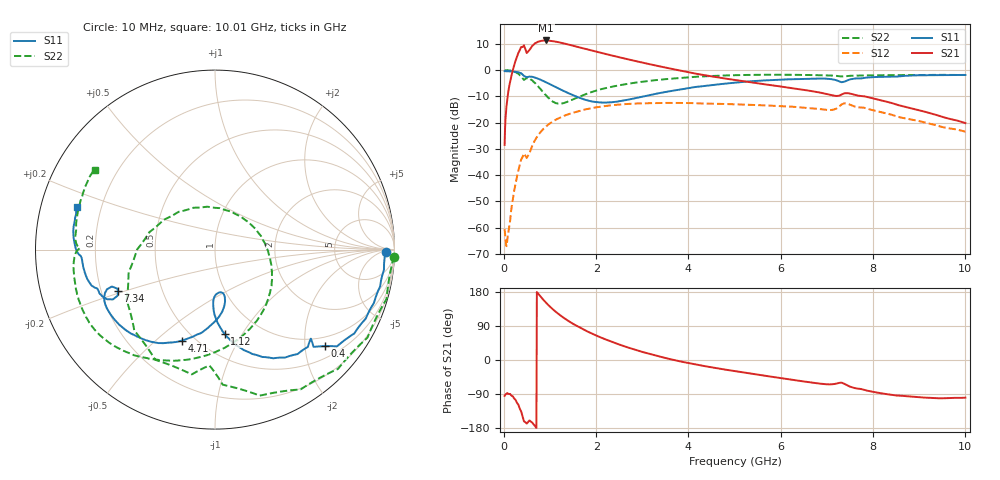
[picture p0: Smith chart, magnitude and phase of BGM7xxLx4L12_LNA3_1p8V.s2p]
! (c) 2014 Infineon Technologies AG
! BGM7xxLx4L12 - Silicon Germanium Quad-Band LTE LNA bank
! 20 May 2014
! Special Application Board
! C1 = L1 = 0 Ohm
! C2 = 100 nF
! Vcc = 1.8V
! RF input and output lines de-embedded
! Port 1 reference plane: LNA input AI (pin 1)
! Port 2 reference plane: LNA output AO (pin 4)
! Network Data:
! Measured BGM7xxLx4L12 device level s-parameters
# GHz S MA R 50
!Freq  MagS11  AngS11  MagS21  AngS21  MagS12  AngS12  MagS22  AngS22
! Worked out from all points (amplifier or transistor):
!   1001 points, 10 MHz to 10.01 GHz, reference 50 ohm
!   highest |S21| = 11.2 dB at 910 MHz (marker M1)
!   |S21| within 3 dB of that: 574.5 MHz to 1.717 GHz (1.142 GHz wide, 99.7 % of centre)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
!   unconditionally stable (mu >= 1): start of sweep to end of sweep
!   at 1.67 GHz: K = 1.16, MAG = 9.5 dB, |S12| = -15.4 dB
!   at 5.01 GHz: K = 1.32, MAG = 1.2 dB, |S12| = -13.1 dB
!   at 10.01 GHz: K = 9.97, MAG = -11.4 dB, |S12| = -23.5 dB
!   lowest NFmin = 0.64 dB at 850 MHz
!   S11 on the Smith chart (normalised r, x): 10 MHz: 37, -10; 400 MHz: 0.76, -2.45; 1.12 GHz: 0.70, -0.84; 4.71 GHz: 0.43, -0.61; 7.34 GHz: 0.27, -0.19; 10.01 GHz: 0.11, +0.15
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0.01  0.9501 -0.8  0.0377 -94.7  0.0009422 18.2  0.9977 -2.2
0.08  0.945 -7.8  0.334 -88.6  0.0007017 139.7  0.9854 -18.3
0.23  0.9239 -22.5  1.343 -103.4  0.005759 -175.6  0.9162 -53.6
0.33  0.8889 -33.4  2.289 -125.5  0.01461 169.9  0.8102 -77.1
0.4  0.8158 -41.2  2.745 -149.6  0.02228 149.6  0.6968 -89.4
0.46  0.7498 -43.7  2.501 -164.1  0.02341 136.8  0.6736 -96.9
0.53  0.7412 -45.2  2.287 -162.1  0.02426 143.1  0.6904 -112.5
0.64  0.7271 -54.2  3.027 -170.1  0.04109 144.1  0.5932 -142.1
0.77  0.6626 -64.7  3.506 170.3  0.06274 131.9  0.4504 -174.5
0.91  0.5829 -74.0  3.639 150.9  0.08474 118.8  0.3304 149.8
1.12  0.472 -83.5  3.445 127.3  0.1128 102.0  0.2339 91.9
1.35  0.3769 -89.6  3.108 106.6  0.1394 87.4  0.2439 34.9
1.68  0.2873 -91.9  2.627 83.2  0.1708 70.8  0.3219 -14.0
1.98  0.2463 -87.6  2.255 65.6  0.1935 57.9  0.4011 -41.8
2.33  0.2432 -80.7  1.89 48.3  0.2127 45.1  0.4781 -65.2
3.35  0.3599 -84.8  1.183 9.8  0.2358 16.1  0.6488 -108.0
4.71  0.5396 -110.1  0.7059 -23.6  0.2263 -9.8  0.7797 -137.3
5.01  0.5735 -115.5  0.6426 -29.5  0.2219 -14.5  0.7946 -141.8
6.68  0.6833 -146.2  0.395 -59.6  0.1866 -37.3  0.8001 -167.8
7.34  0.5878 -157.1  0.3463 -60.6  0.2242 -36.5  0.7537 179.4
8.35  0.7424 -174.8  0.243 -91.0  0.1458 -71.6  0.7973 160.1
10.01  0.8031 162.9  0.0978 -99.4  0.0671 -68.5  0.8015 146.5
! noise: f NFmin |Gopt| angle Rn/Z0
0.7  0.6756  0.4433  44.48  0.1698
0.75  0.6792  0.435  46.4  0.1603
0.8  0.6522  0.4356  49.05  0.1443
0.85  0.6396  0.4173  52.75  0.1406
0.9  0.6459  0.4215  54.23  0.1371
0.95  0.7124  0.3812  57.18  0.134
1  0.7119  0.3779  60.09  0.1351
